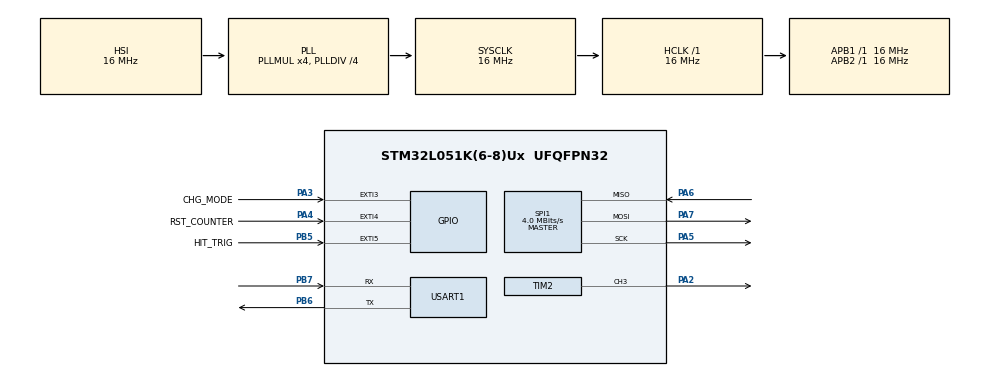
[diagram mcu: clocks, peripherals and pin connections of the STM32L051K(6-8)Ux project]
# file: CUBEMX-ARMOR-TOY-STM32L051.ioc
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Dma.Request0=SPI1_TX
Dma.SPI1_TX.0.Direction=DMA_MEMORY_TO_PERIPH
Dma.SPI1_TX.0.Instance=DMA1_Channel3
Dma.SPI1_TX.0.MemDataAlignment=DMA_MDATAALIGN_BYTE
Dma.SPI1_TX.0.MemInc=DMA_MINC_ENABLE
Dma.SPI1_TX.0.Mode=DMA_NORMAL
Dma.SPI1_TX.0.PeriphDataAlignment=DMA_PDATAALIGN_BYTE
Dma.SPI1_TX.0.PeriphInc=DMA_PINC_DISABLE
Dma.SPI1_TX.0.Priority=DMA_PRIORITY_HIGH
Mcu.Family=STM32L0
Mcu.Name=STM32L051K(6-8)Ux
Mcu.Package=UFQFPN32
NVIC.DMA1_Channel2_3_IRQn=true\:0\:0\:false\:false\:true\:false\:true\:true
NVIC.EXTI2_3_IRQn=true\:0\:0\:false\:false\:true\:true\:true\:true
NVIC.EXTI4_15_IRQn=true\:0\:0\:false\:false\:true\:true\:true\:true
NVIC.RTC_IRQn=true\:0\:0\:false\:false\:true\:true\:true\:true
NVIC.SPI1_IRQn=true\:0\:0\:false\:false\:true\:true\:true\:true
PA13.Mode=Serial_Wire
PA13.Signal=SYS_SWDIO
PA14.Mode=Serial_Wire
PA14.Signal=SYS_SWCLK
PA2.Signal=S_TIM2_CH3
PA3.GPIO_Label=CHG_MODE
PA3.Signal=GPXTI3
PA4.GPIO_Label=RST_COUNTER
PA4.Signal=GPXTI4
PA5.Mode=Full_Duplex_Master
PA5.Signal=SPI1_SCK
PA6.Mode=Full_Duplex_Master
PA6.Signal=SPI1_MISO
PA7.Mode=Full_Duplex_Master
PA7.Signal=SPI1_MOSI
PB5.GPIO_Label=HIT_TRIG
PB5.GPIO_ModeDefaultEXTI=GPIO_MODE_IT_FALLING
PB5.Signal=GPXTI5
PB6.Mode=Asynchronous
PB6.Signal=USART1_TX
PB7.Mode=Asynchronous
PB7.Signal=USART1_RX
PC14-OSC32_IN.Mode=LSE-External-Oscillator
PC14-OSC32_IN.Signal=RCC_OSC32_IN
PC15-OSC32_OUT.Mode=LSE-External-Oscillator
PC15-OSC32_OUT.Signal=RCC_OSC32_OUT
ProjectManager.HeapSize=0x200
ProjectManager.StackSize=0x400
ProjectManager.TargetToolchain=CMake
RCC.ADCFreq_Value=16000000
RCC.AHBFreq_Value=16000000
RCC.APB1Freq_Value=16000000
RCC.APB1TimFreq_Value=16000000
RCC.APB2Freq_Value=16000000
RCC.APB2TimFreq_Value=16000000
RCC.HCLKFreq_Value=16000000
RCC.HSI16_VALUE=16000000
RCC.HSI_VALUE=16000000
RCC.MSI_VALUE=2097000
RCC.PLLDIV=RCC_PLLDIV_4
RCC.PLLMUL=RCC_PLLMUL_4
RCC.RTCClockSelection=RCC_RTCCLKSOURCE_LSE
RCC.RTCClockSelectionVirtual=RCC_RTCCLKSOURCE_LSE
RCC.SYSCLKFreq_VALUE=16000000
RCC.SYSCLKSource=RCC_SYSCLKSOURCE_PLLCLK
RCC.VCOOutputFreq_Value=64000000
RTC.WakeUpClock=RTC_WAKEUPCLOCK_CK_SPRE_16BITS
RTC.WakeUpCounter=1
SH.S_TIM2_CH3.0=TIM2_CH3,PWM Generation3 CH3
SPI1.BaudRatePrescaler=SPI_BAUDRATEPRESCALER_4
SPI1.CalculateBaudRate=4.0 MBits/s
SPI1.Direction=SPI_DIRECTION_2LINES
SPI1.Mode=SPI_MODE_MASTER
SPI1.VirtualType=VM_MASTER
TIM2.Channel-PWM\ Generation3\ CH3=TIM_CHANNEL_3
TIM2.Period=524
TIM2.Pulse-PWM\ Generation3\ CH3=262
USART1.VirtualMode-Asynchronous=VM_ASYNC
VP_RTC_VS_RTC_Activate.Mode=RTC_Enabled
VP_RTC_VS_RTC_WakeUp_intern.Mode=WakeUp
board=custom

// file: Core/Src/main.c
/* USER CODE BEGIN Header */
/**
 ******************************************************************************
 * @file           : main.c
 * @brief          : Main program body
 ******************************************************************************
 * @attention
 *
 * Copyright (c) 2026 STMicroelectronics.
 * All rights reserved.
 *
 * This software is licensed under terms that can be found in the LICENSE file
 * in the root directory of this software component.
 * If no LICENSE file comes with this software, it is provided AS-IS.
 *
 ******************************************************************************
 */
/* USER CODE END Header */
#include "main.h"

/* USER CODE BEGIN Includes */
#include <string.h>
/* USER CODE END Includes */

RTC_HandleTypeDef hrtc;

SPI_HandleTypeDef hspi1;
DMA_HandleTypeDef hdma_spi1_tx;

TIM_HandleTypeDef htim2;

UART_HandleTypeDef huart1;

void SystemClock_Config(void);
static void MX_GPIO_Init(void);
static void MX_DMA_Init(void);
static void MX_RTC_Init(void);
static void MX_TIM2_Init(void);
static void MX_USART1_UART_Init(void);
static void MX_SPI1_Init(void);

/* USER CODE BEGIN 0 */
#define LED_MAX_LUMINANCE 256U
#define MODE4_LED_MAX_LUMINANCE 128U
#if (LED_MAX_LUMINANCE < 1U) || (LED_MAX_LUMINANCE > 256U)
#error "LED_MAX_LUMINANCE must be in the range 1..256"
#endif
#if (MODE4_LED_MAX_LUMINANCE < 1U) || (MODE4_LED_MAX_LUMINANCE > 256U)
#error "MODE4_LED_MAX_LUMINANCE must be in the range 1..256"
#endif
#define LED_SOLID_LEVEL ((uint8_t)(LED_MAX_LUMINANCE - 1U))
#define MODE4_LED_SOLID_LEVEL ((uint8_t)(MODE4_LED_MAX_LUMINANCE - 1U))

#define SK6812_LED_COUNT 16U

#define SK6812_SPI_HZ 4000000UL

#define SK6812_CODE_BITS 5U
#define SK6812_CODE_0 0x10U // 10000
#define SK6812_CODE_1 0x1EU // 11110

// SPI = 4 MHz，1 byte = 2 us
// 128 bytes = 256 us reset low，满足 >= 200 us
#define SK6812_RESET_BYTES 128U

// 8 LEDs * 24 bits * 5 SPI bits / 8 = 120 bytes
#define SK6812_DATA_BYTES                                                      \
  ((SK6812_LED_COUNT * 24U * SK6812_CODE_BITS + 7U) / 8U)

#define SK6812_TX_BYTES                                                        \
  (SK6812_RESET_BYTES + SK6812_DATA_BYTES + SK6812_RESET_BYTES)

#define APP_MODE_COUNT 4U
#define ADJUSTABLE_LUMINANCE_LEVEL_COUNT 9U
#define ADJUSTABLE_LUMINANCE_DEFAULT_INDEX 5U
#define KEY_DEBOUNCE_MS 180U
#define HIT_DEBOUNCE_MS 70U

#define BUZZER_BEEP_ON_MS 35U
#define BUZZER_BEEP_OFF_MS 35U
#define BUZZER_MAX_BEEPS 8U
#define BUZZER_BEEP_HZ 2000U

#define STARTUP_TONE_COUNT 3U
#define STARTUP_TONE_MS 140U
#define STARTUP_LAST_TONE_MS 180U
#define STARTUP_TONE_GAP_MS 28U

#define MODE3_TAP_EFFECT_MS 500U
#define MODE3_TAP_BLINK_MS 30U
#define FANCY_FRAME_MS 10U
#define STATIC_FRAME_MS 10U
#define SEDENTARY_FRAME_MS 10U

#define FANCY_ROWS 8U
#define FANCY_STAGE_FLOW_FRAMES 260UL
#define FANCY_STAGE_BULLET_FRAMES 230UL
#define FANCY_STAGE_PORTAL_FRAMES 240UL
#define FANCY_STAGE_HEART_FRAMES 220UL
#define FANCY_STAGE_GLITTER_FRAMES 220UL
#define FANCY_STAGE_SCANNER_FRAMES 210UL
#define FANCY_STAGE_RAIN_FRAMES 240UL
#define FANCY_STAGE_SPLIT_FRAMES 220UL
#define FANCY_STAGE_ORBIT_FRAMES 260UL
#define FANCY_STAGE_FIREWORK_FRAMES 240UL
#define FANCY_STAGE_LOVE_FRAMES 260UL
#define FANCY_STAGE_TOTAL_FRAMES                                             \
  (FANCY_STAGE_FLOW_FRAMES + FANCY_STAGE_BULLET_FRAMES +                     \
   FANCY_STAGE_PORTAL_FRAMES + FANCY_STAGE_HEART_FRAMES +                    \
   /*FANCY_STAGE_GLITTER_FRAMES + */FANCY_STAGE_SCANNER_FRAMES +                 \
   FANCY_STAGE_RAIN_FRAMES + FANCY_STAGE_SPLIT_FRAMES +                      \
   FANCY_STAGE_ORBIT_FRAMES + FANCY_STAGE_FIREWORK_FRAMES +                  \
   FANCY_STAGE_LOVE_FRAMES)

#define SEDENTARY_TOTAL_SECONDS (48UL * 60UL)
#define SEDENTARY_LED_SECONDS (SEDENTARY_TOTAL_SECONDS / SK6812_LED_COUNT)
#define SEDENTARY_PROGRESS_SHOW_MS 2000UL
#define SEDENTARY_DONE_BEEPS 5U
#define SEDENTARY_REMINDER_BEEP_INTERVAL_MS 5000UL
#define RTC_WAKEUP_COUNTER_1HZ 0U

typedef enum {
  APP_MODE_FANCY = 1U,
  APP_MODE_RED,
  APP_MODE_BLUE,
  APP_MODE_SEDENTARY,
} AppMode;

typedef struct {
  uint8_t beeps_left;
  uint8_t output_on;
  uint32_t next_change_ms;
} BuzzerState;

static uint8_t sk6812_rgb[SK6812_LED_COUNT][3]; // R, G, B
static uint8_t sk6812_tx_buf[SK6812_TX_BYTES];
static uint8_t active_led_solid_level = LED_SOLID_LEVEL;

static volatile uint8_t sk6812_dma_busy = 0;
static volatile uint8_t chg_mode_request = 0U;
static volatile uint8_t reset_cnt_request = 0U;
static volatile uint8_t hit_request = 0U;
static volatile uint32_t rtc_second_ticks = 0U;

static uint32_t last_chg_irq_ms = 0U;
static uint32_t last_reset_irq_ms = 0U;
static uint32_t last_hit_irq_ms = 0U;

static AppMode app_mode = APP_MODE_FANCY;
static BuzzerState buzzer = {0U, 0U, 0U};
static uint8_t adjustable_luminance_index = ADJUSTABLE_LUMINANCE_DEFAULT_INDEX;
static uint32_t next_led_update_ms = 0U;
static uint32_t mode3_phase = 0U;
static uint32_t tap_effect_started_ms = 0U;
static uint8_t tap_effect_active = 0U;
static uint32_t sedentary_seconds = 0U;
static uint8_t sedentary_reminder_active = 0U;
static uint32_t sedentary_progress_until_ms = 0U;
static uint32_t sedentary_next_beep_ms = 0U;

static uint8_t TimeReached(uint32_t now, uint32_t target) {
  return ((int32_t)(now - target) >= 0) ? 1U : 0U;
}

static uint8_t TimeElapsed(uint32_t now, uint32_t start, uint32_t period) {
  return ((uint32_t)(now - start) >= period) ? 1U : 0U;
}

static uint8_t ClampLed(uint8_t value) {
  return (value > active_led_solid_level) ? active_led_solid_level : value;
}

static uint8_t ClampAddLed(uint8_t value, uint8_t add) {
  uint16_t sum = (uint16_t)value + (uint16_t)add;
  return (sum > active_led_solid_level) ? active_led_solid_level : (uint8_t)sum;
}

static uint8_t LuminanceToSolidLevel(uint16_t luminance) {
  if (luminance >= 256U) {
    return 255U;
  }

  return (uint8_t)luminance;
}

static uint8_t AdjustableLuminanceSolidLevel(void) {
  return LuminanceToSolidLevel((uint16_t)(1U << adjustable_luminance_index));
}

static void App_UpdateActiveLedLimit(void) {
  if (app_mode == APP_MODE_SEDENTARY) {
    active_led_solid_level = MODE4_LED_SOLID_LEVEL;
  } else if ((app_mode == APP_MODE_FANCY) || (app_mode == APP_MODE_RED) ||
             (app_mode == APP_MODE_BLUE)) {
    active_led_solid_level = AdjustableLuminanceSolidLevel();
  } else {
    active_led_solid_level = LED_SOLID_LEVEL;
  }
}

static void App_CycleAdjustableLuminance(void) {
  adjustable_luminance_index++;

  if (adjustable_luminance_index >= ADJUSTABLE_LUMINANCE_LEVEL_COUNT) {
    adjustable_luminance_index = 0U;
  }

  App_UpdateActiveLedLimit();
  next_led_update_ms = 0U;
}

static uint8_t TakeRequest(volatile uint8_t *request) {
  uint8_t value;

  __disable_irq();
  value = *request;
  *request = 0U;
  __enable_irq();

  return value;
}

static uint32_t TakeRtcSecondTicks(void) {
  uint32_t ticks;

  __disable_irq();
  ticks = rtc_second_ticks;
  rtc_second_ticks = 0U;
  __enable_irq();

  return ticks;
}

static void Buzzer_SetFrequency(uint16_t frequency_hz) {
  uint32_t counter_hz;
  uint32_t period_counts;

  if (frequency_hz == 0U) {
    return;
  }

  counter_hz = HAL_RCC_GetPCLK1Freq() / (htim2.Init.Prescaler + 1U);
  period_counts = (counter_hz + ((uint32_t)frequency_hz / 2U)) /
                  (uint32_t)frequency_hz;

  if (period_counts < 2U) {
    period_counts = 2U;
  }

  htim2.Init.Period = period_counts - 1U;
  __HAL_TIM_SET_AUTORELOAD(&htim2, htim2.Init.Period);
  __HAL_TIM_SET_COMPARE(&htim2, TIM_CHANNEL_3, period_counts / 2U);
  __HAL_TIM_SET_COUNTER(&htim2, 0U);
}

static void Buzzer_SetOutput(uint8_t on) {
  if (on) {
    __HAL_TIM_SET_COMPARE(&htim2, TIM_CHANNEL_3,
                          (uint32_t)((htim2.Init.Period + 1U) / 2U));
    HAL_TIM_PWM_Start(&htim2, TIM_CHANNEL_3);
  } else {
    HAL_TIM_PWM_Stop(&htim2, TIM_CHANNEL_3);
  }
}

static void Buzzer_Cancel(void) {
  buzzer.beeps_left = 0U;
  buzzer.output_on = 0U;
  buzzer.next_change_ms = 0U;
  Buzzer_SetOutput(0U);
}

static void Buzzer_RequestBeeps(uint8_t count) {
  if (count == 0U) {
    return;
  }

  if (count > BUZZER_MAX_BEEPS) {
    count = BUZZER_MAX_BEEPS;
  }

  Buzzer_SetOutput(0U);
  Buzzer_SetFrequency(BUZZER_BEEP_HZ);
  buzzer.beeps_left = count;
  buzzer.output_on = 0U;
  buzzer.next_change_ms = HAL_GetTick();
}

static void Buzzer_Task(uint32_t now) {
  if (buzzer.output_on) {
    if (TimeReached(now, buzzer.next_change_ms)) {
      Buzzer_SetOutput(0U);
      buzzer.output_on = 0U;
      buzzer.next_change_ms = now + BUZZER_BEEP_OFF_MS;
    }

    return;
  }

  if ((buzzer.beeps_left > 0U) && TimeReached(now, buzzer.next_change_ms)) {
    Buzzer_SetOutput(1U);
    buzzer.output_on = 1U;
    buzzer.beeps_left--;
    buzzer.next_change_ms = now + BUZZER_BEEP_ON_MS;
  }
}

static uint8_t Buzzer_IsIdle(void) {
  return ((buzzer.beeps_left == 0U) && (buzzer.output_on == 0U)) ? 1U : 0U;
}

static void StartupSound_Play(void) {
  static const uint16_t tone_hz[STARTUP_TONE_COUNT] = {512U, 573U, 760U};

  Buzzer_Cancel();

  for (uint8_t i = 0U; i < STARTUP_TONE_COUNT; i++) {
    Buzzer_SetFrequency(tone_hz[i]);
    Buzzer_SetOutput(1U);
    HAL_Delay((i == (STARTUP_TONE_COUNT - 1U)) ? STARTUP_LAST_TONE_MS
                                               : STARTUP_TONE_MS);
    Buzzer_SetOutput(0U);

    if (i != (STARTUP_TONE_COUNT - 1U)) {
      HAL_Delay(STARTUP_TONE_GAP_MS);
    }
  }

  Buzzer_SetFrequency(BUZZER_BEEP_HZ);
  Buzzer_Cancel();
}

void HAL_GPIO_EXTI_Callback(uint16_t GPIO_Pin) {
  uint32_t now = HAL_GetTick();

  if (GPIO_Pin == CHG_MODE_Pin) {
    if ((last_chg_irq_ms == 0U) ||
        TimeElapsed(now, last_chg_irq_ms, KEY_DEBOUNCE_MS)) {
      last_chg_irq_ms = now;
      chg_mode_request = 1U;
    }
  } else if (GPIO_Pin == RST_COUNTER_Pin) {
    if ((last_reset_irq_ms == 0U) ||
        TimeElapsed(now, last_reset_irq_ms, KEY_DEBOUNCE_MS)) {
      last_reset_irq_ms = now;
      reset_cnt_request = 1U;
    }
  } else if (GPIO_Pin == HIT_TRIG_Pin) {
    if ((last_hit_irq_ms == 0U) ||
        TimeElapsed(now, last_hit_irq_ms, HIT_DEBOUNCE_MS)) {
      last_hit_irq_ms = now;
      hit_request = 1U;
    }
  }
}

void HAL_RTCEx_WakeUpTimerEventCallback(RTC_HandleTypeDef *hrtc) {
  if (hrtc->Instance == RTC) {
    rtc_second_ticks++;
  }
}
static void SK6812_WriteEncodedBit(uint16_t *bit_pos, uint8_t bit_is_one) {
  uint8_t code = bit_is_one ? SK6812_CODE_1 : SK6812_CODE_0;
  // 5-bit code, MSB first
  for (int k = 4; k >= 0; k--) {
    if (code & (1U << k)) {
      sk6812_tx_buf[*bit_pos >> 3] |= (uint8_t)(0x80U >> (*bit_pos & 0x07U));
    }

    (*bit_pos)++;
  }
}
static void SK6812_WriteEncodedByte(uint16_t *bit_pos, uint8_t value) {
  for (int b = 7; b >= 0; b--) {
    SK6812_WriteEncodedBit(bit_pos, (value & (1U << b)) != 0U);
  }
}
void SK6812_SetRGB(uint8_t i, uint8_t r, uint8_t g, uint8_t b) {
  if ((i == 0U) || (i > SK6812_LED_COUNT)) {
    return;
  }
  i--; // User passes 1..16, array uses 0..15.
  sk6812_rgb[i][0] = ClampLed(r);
  sk6812_rgb[i][1] = ClampLed(g);
  sk6812_rgb[i][2] = ClampLed(b);
}
static void SK6812_SetAllRGB(uint8_t r, uint8_t g, uint8_t b) {
  for (uint8_t i = 1U; i <= SK6812_LED_COUNT; i++) {
    SK6812_SetRGB(i, r, g, b);
  }
}
HAL_StatusTypeDef SK6812_Show(void) {
  if (sk6812_dma_busy) {
    return HAL_BUSY;
  }
  memset(sk6812_tx_buf, 0x00, sizeof(sk6812_tx_buf));

  uint16_t bit_pos = SK6812_RESET_BYTES * 8U;

  for (uint8_t i = 0; i < SK6812_LED_COUNT; i++) {
    // SK6812-EC20 datasheet in GRB
    SK6812_WriteEncodedByte(&bit_pos, sk6812_rgb[i][1]); // G
    SK6812_WriteEncodedByte(&bit_pos, sk6812_rgb[i][0]); // R
    SK6812_WriteEncodedByte(&bit_pos, sk6812_rgb[i][2]); // B
  }

  sk6812_dma_busy = 1U;

  HAL_StatusTypeDef ret = HAL_SPI_Transmit_DMA(&hspi1, sk6812_tx_buf,
                                               (uint16_t)sizeof(sk6812_tx_buf));

  if (ret != HAL_OK) {
    sk6812_dma_busy = 0U;
  }

  return ret;
}
uint8_t SK6812_IsBusy(void) { return sk6812_dma_busy; }
void HAL_SPI_TxCpltCallback(SPI_HandleTypeDef *hspi) {
  if (hspi->Instance == SPI1) {
    sk6812_dma_busy = 0U;
  }
}

void HAL_SPI_ErrorCallback(SPI_HandleTypeDef *hspi) {
  if (hspi->Instance == SPI1) {
    sk6812_dma_busy = 0U;
  }
}

static uint8_t Triangle8(uint8_t x) {
  return (x < 128U) ? (uint8_t)(x << 1U) : (uint8_t)((255U - x) << 1U);
}

static uint8_t Scale8(uint8_t value, uint8_t scale) {
  return (uint8_t)(((uint16_t)value * (uint16_t)scale) / 255U);
}

static uint8_t ClampScale(uint16_t scale) {
  return (scale > 255U) ? 255U : (uint8_t)scale;
}

static uint8_t LevelToScale(uint8_t level) {
  return ClampScale((uint16_t)level * 2U);
}

static uint8_t LevelToScaleMax(uint8_t level, uint8_t max_level) {
  if (max_level == 0U) {
    return 0U;
  }

  return (uint8_t)(((uint16_t)level * 255U) / max_level);
}

static void ColorWheelMax(uint8_t pos, uint8_t max_level, uint8_t *r,
                          uint8_t *g, uint8_t *b) {
  uint16_t max = max_level;

  pos = (uint8_t)(255U - pos);

  if (pos < 85U) {
    *r = (uint8_t)(max - (((uint16_t)pos * max) / 85U));
    *g = 0U;
    *b = (uint8_t)(((uint16_t)pos * max) / 85U);
  } else if (pos < 170U) {
    pos = (uint8_t)(pos - 85U);
    *r = 0U;
    *g = (uint8_t)(((uint16_t)pos * max) / 85U);
    *b = (uint8_t)(max - (((uint16_t)pos * max) / 85U));
  } else {
    pos = (uint8_t)(pos - 170U);
    *r = (uint8_t)(((uint16_t)pos * max) / 85U);
    *g = (uint8_t)(max - (((uint16_t)pos * max) / 85U));
    *b = 0U;
  }
}

static void ColorWheel(uint8_t pos, uint8_t *r, uint8_t *g, uint8_t *b) {
  ColorWheelMax(pos, active_led_solid_level, r, g, b);
}

static uint8_t BreathLevel(uint32_t now, uint8_t max_level) {
  uint32_t phase = now % 2200U;

  if (phase < 1100U) {
    return (uint8_t)(1U + ((phase * max_level) / 1100U));
  }

  phase = 2199U - phase;
  return (uint8_t)(1U + ((phase * max_level) / 1100U));
}

static uint8_t FancyLedAt(uint8_t row, uint8_t right_side) {
  if (right_side) {
    return (uint8_t)(SK6812_LED_COUNT - row);
  }

  return (uint8_t)(row + 1U);
}

static void FancySetPixel(uint8_t row, uint8_t right_side, uint8_t r,
                          uint8_t g, uint8_t b) {
  if (row >= FANCY_ROWS) {
    return;
  }

  SK6812_SetRGB(FancyLedAt(row, right_side), r, g, b);
}

static void FancySetRow(uint8_t row, uint8_t r, uint8_t g, uint8_t b) {
  FancySetPixel(row, 0U, r, g, b);
  FancySetPixel(row, 1U, r, g, b);
}

static uint8_t AbsDiffU8(uint8_t a, uint8_t b) {
  return (a > b) ? (uint8_t)(a - b) : (uint8_t)(b - a);
}

static uint8_t FancyNoise8(uint8_t seed, uint32_t tick) {
  uint32_t x = tick + ((uint32_t)seed * 0x45d9f3bUL) + 0x9e3779b9UL;

  x ^= x >> 16U;
  x *= 0x7feb352dUL;
  x ^= x >> 15U;

  return (uint8_t)(x >> 24U);
}

static void FancyRenderFlow(uint32_t t) {
  for (uint8_t row = 0U; row < FANCY_ROWS; row++) {
    uint8_t r;
    uint8_t g;
    uint8_t b;
    uint8_t shimmer;

    ColorWheel((uint8_t)((t * 2U) + ((uint32_t)row * 24U)), &r, &g, &b);
    shimmer = (uint8_t)(170U + (Triangle8((uint8_t)((t * 5U) +
                                                    ((uint32_t)row * 28U))) >>
                                2U));
    FancySetPixel(row, 0U, Scale8(r, shimmer), Scale8(g, shimmer),
                  Scale8(b, shimmer));

    ColorWheel((uint8_t)((t * 2U) + ((uint32_t)(FANCY_ROWS - 1U - row) * 24U) +
                         80U),
               &r, &g, &b);
    shimmer = (uint8_t)(170U + (Triangle8((uint8_t)((t * 5U) +
                                                    ((uint32_t)row * 31U))) >>
                                2U));
    FancySetPixel(row, 1U, Scale8(r, shimmer), Scale8(g, shimmer),
                  Scale8(b, shimmer));
  }
}

static void FancyRenderBullets(uint32_t t) {
  uint8_t shot = (uint8_t)((t / 10U) % (FANCY_ROWS + 4U));

  SK6812_SetAllRGB(0U, 0U, 6U);

  for (uint8_t row = 0U; row < FANCY_ROWS; row++) {
    uint8_t distance = AbsDiffU8(row, shot);

    if (distance < 4U) {
      uint8_t level = (uint8_t)(LED_SOLID_LEVEL - ((uint16_t)distance * 30U));
      FancySetPixel(row, 0U, level, (uint8_t)(level >> 2U), 0U);
    }

    if ((shot >= 1U) && (shot < (FANCY_ROWS + 1U))) {
      uint8_t hit_row = (uint8_t)(shot - 1U);
      uint8_t hit_distance = AbsDiffU8(row, hit_row);

      if (hit_distance < 3U) {
        uint8_t burst = (uint8_t)(LED_SOLID_LEVEL -
                                  ((uint16_t)hit_distance * 38U));
        FancySetPixel(row, 1U, burst, burst, (uint8_t)(burst >> 3U));
      }
    }
  }
}

static void FancyRenderPortal(uint32_t t) {
  uint8_t radius = (uint8_t)((t / 11U) % 9U);
  uint8_t hue = (uint8_t)(t * 3U);

  SK6812_SetAllRGB(0U, 0U, 0U);

  for (uint8_t row = 0U; row < FANCY_ROWS; row++) {
    uint8_t r;
    uint8_t g;
    uint8_t b;
    uint8_t d0 = AbsDiffU8(row, 3U);
    uint8_t d1 = AbsDiffU8(row, 4U);
    uint8_t distance = (d0 < d1) ? d0 : d1;

    if (distance <= radius) {
      uint8_t edge = AbsDiffU8(distance, radius);
      uint8_t level = (edge == 0U) ? LED_SOLID_LEVEL : 42U;

      ColorWheel((uint8_t)(hue + ((uint32_t)row * 18U)), &r, &g, &b);
      r = Scale8(r, LevelToScale(level));
      g = Scale8(g, LevelToScale(level));
      b = Scale8(b, LevelToScale(level));
      FancySetRow(row, r, g, b);
    }
  }
}

static void FancyRenderHeart(uint32_t t) {
  uint8_t beat = Triangle8((uint8_t)(t * 4U));

  for (uint8_t row = 0U; row < FANCY_ROWS; row++) {
    uint8_t shape = (uint8_t)(LED_SOLID_LEVEL -
                              ((uint16_t)row * (LED_SOLID_LEVEL / 9U)));
    uint8_t glow = ClampAddLed(Scale8(shape, ClampScale(130U + (beat >> 1U))),
                               (uint8_t)(beat >> 3U));

    FancySetRow(row, glow, (uint8_t)(glow >> 4U), (uint8_t)(glow >> 2U));
  }
}

static void __attribute__((unused)) FancyRenderGlitter(uint32_t t) {
  for (uint8_t row = 0U; row < FANCY_ROWS; row++) {
    uint8_t r;
    uint8_t g;
    uint8_t b;
    uint8_t base = (uint8_t)(18U + (Triangle8((uint8_t)(t * 2U + row * 21U)) >>
                                    4U));

    ColorWheel((uint8_t)(t + row * 29U), &r, &g, &b);
    FancySetRow(row, Scale8(r, base), Scale8(g, base), Scale8(b, base));

    for (uint8_t side = 0U; side < 2U; side++) {
      uint8_t noise = FancyNoise8((uint8_t)(row + (side * 13U)), t / 3U);

      if (noise > 232U) {
        FancySetPixel(row, side, LED_SOLID_LEVEL, LED_SOLID_LEVEL,
                      LED_SOLID_LEVEL);
      } else if (noise > 216U) {
        FancySetPixel(row, side, LED_SOLID_LEVEL, 0U, LED_SOLID_LEVEL);
      }
    }
  }
}

static void FancyRenderScanner(uint32_t t) {
  uint8_t pos = (uint8_t)((t / 6U) % ((FANCY_ROWS * 2U) - 2U));
  uint8_t center =
      (pos < FANCY_ROWS) ? pos : (uint8_t)(((FANCY_ROWS * 2U) - 2U) - pos);

  SK6812_SetAllRGB(0U, 0U, 10U);

  for (uint8_t row = 0U; row < FANCY_ROWS; row++) {
    uint8_t distance = AbsDiffU8(row, center);

    if (distance < 4U) {
      uint8_t level = (uint8_t)(LED_SOLID_LEVEL -
                                ((uint16_t)distance * 34U));
      FancySetPixel(row, 0U, level, 0U, (uint8_t)(level >> 1U));
      FancySetPixel(row, 1U, 0U, (uint8_t)(level >> 1U), level);
    }
  }
}

static void FancyRenderRain(uint32_t t) {
  SK6812_SetAllRGB(0U, 0U, 0U);

  for (uint8_t side = 0U; side < 2U; side++) {
    for (uint8_t drop = 0U; drop < 4U; drop++) {
      uint8_t head = (uint8_t)((t / 7U + ((uint32_t)drop * 4U) +
                                ((uint32_t)side * 2U)) %
                               (FANCY_ROWS + 5U));
      uint8_t hue = (uint8_t)(150U + (drop * 18U) + (side * 50U));

      for (uint8_t row = 0U; row < FANCY_ROWS; row++) {
        if (head >= row) {
          uint8_t r;
          uint8_t g;
          uint8_t b;
          uint8_t tail = (uint8_t)(head - row);

          if (tail < 4U) {
            uint8_t level = (uint8_t)(LED_SOLID_LEVEL -
                                      ((uint16_t)tail * 34U));

            ColorWheel((uint8_t)(hue + row * 9U), &r, &g, &b);
            FancySetPixel(row, side, Scale8(r, LevelToScale(level)),
                          Scale8(g, LevelToScale(level)),
                          Scale8(b, LevelToScale(level)));
          }
        }
      }
    }
  }
}

static void FancyRenderSplit(uint32_t t) {
  uint8_t radius = (uint8_t)((t / 8U) % FANCY_ROWS);
  uint8_t hue = (uint8_t)(t * 4U);

  SK6812_SetAllRGB(3U, 0U, 5U);

  for (uint8_t row = 0U; row < FANCY_ROWS; row++) {
    uint8_t r;
    uint8_t g;
    uint8_t b;
    uint8_t d0 = AbsDiffU8(row, 3U);
    uint8_t d1 = AbsDiffU8(row, 4U);
    uint8_t distance = (d0 < d1) ? d0 : d1;
    uint8_t error = AbsDiffU8(distance, radius);

    if (error < 3U) {
      uint8_t level = (uint8_t)(LED_SOLID_LEVEL -
                                ((uint16_t)error * 40U));

      ColorWheel((uint8_t)(hue + row * 20U), &r, &g, &b);
      FancySetRow(row, Scale8(r, LevelToScale(level)),
                  Scale8(g, LevelToScale(level)),
                  Scale8(b, LevelToScale(level)));
    }
  }
}

static void FancyRenderOrbit(uint32_t t) {
  uint8_t head = (uint8_t)((t / 5U) % SK6812_LED_COUNT);

  SK6812_SetAllRGB(0U, 4U, 6U);

  for (uint8_t trail = 0U; trail < 6U; trail++) {
    uint8_t r;
    uint8_t g;
    uint8_t b;
    uint8_t step = (uint8_t)((head + SK6812_LED_COUNT - trail) %
                             SK6812_LED_COUNT);
    uint8_t row = (step < FANCY_ROWS) ? step : (uint8_t)(15U - step);
    uint8_t side = (step < FANCY_ROWS) ? 0U : 1U;
    uint8_t level = (uint8_t)(LED_SOLID_LEVEL -
                              ((uint16_t)trail * 19U));

    ColorWheel((uint8_t)(t * 3U + trail * 18U), &r, &g, &b);
    FancySetPixel(row, side, Scale8(r, LevelToScale(level)),
                  Scale8(g, LevelToScale(level)),
                  Scale8(b, LevelToScale(level)));
  }
}

static void FancyRenderFirework(uint32_t t) {
  uint32_t shot = t / 48U;
  uint8_t age = (uint8_t)(t % 48U);
  uint8_t center_row = (uint8_t)(FancyNoise8(61U, shot) % FANCY_ROWS);
  uint8_t center_side = (uint8_t)(FancyNoise8(97U, shot) & 1U);
  uint8_t radius = (uint8_t)(age / 8U);
  uint8_t hue = FancyNoise8(131U, shot);

  SK6812_SetAllRGB(0U, 0U, 0U);

  for (uint8_t row = 0U; row < FANCY_ROWS; row++) {
    for (uint8_t side = 0U; side < 2U; side++) {
      uint8_t r;
      uint8_t g;
      uint8_t b;
      uint8_t distance =
          (uint8_t)(AbsDiffU8(row, center_row) + ((side == center_side) ? 0U : 1U));
      uint8_t error = AbsDiffU8(distance, radius);

      if (error < 2U) {
        uint8_t level = (error == 0U) ? LED_SOLID_LEVEL : 54U;
        uint8_t fade = (uint8_t)(255U - ((uint16_t)age * 3U));

        ColorWheel((uint8_t)(hue + row * 13U + side * 35U), &r, &g, &b);
        level = Scale8(level, fade);
        FancySetPixel(row, side, Scale8(r, LevelToScale(level)),
                      Scale8(g, LevelToScale(level)),
                      Scale8(b, LevelToScale(level)));
      }
    }
  }
}

static void FancyRenderLove(uint32_t t) {
  static const uint8_t heart_shape[FANCY_ROWS] = {58U, 112U, 127U, 120U,
                                                  96U, 70U,  44U,  22U};
  uint8_t pulse = Triangle8((uint8_t)(t * 3U));

  for (uint8_t row = 0U; row < FANCY_ROWS; row++) {
    uint8_t glow =
        ClampAddLed(Scale8(heart_shape[row], ClampScale(160U + (pulse >> 2U))),
                    (uint8_t)(pulse >> 4U));

    FancySetRow(row, glow, (uint8_t)(glow >> 5U), (uint8_t)(glow >> 2U));
  }

  if (((t / 18U) & 1UL) == 0UL) {
    FancySetPixel(1U, 0U, LED_SOLID_LEVEL, LED_SOLID_LEVEL, LED_SOLID_LEVEL);
    FancySetPixel(1U, 1U, LED_SOLID_LEVEL, LED_SOLID_LEVEL, LED_SOLID_LEVEL);
  }

  if (((t / 31U) & 1UL) == 0UL) {
    FancySetPixel(5U, 0U, LED_SOLID_LEVEL, 20U, LED_SOLID_LEVEL);
    FancySetPixel(5U, 1U, LED_SOLID_LEVEL, 20U, LED_SOLID_LEVEL);
  }
}

static void RenderModeRed(uint32_t now) {
  if (tap_effect_active) {
    uint32_t age = now - tap_effect_started_ms;

    if (age >= MODE3_TAP_EFFECT_MS) {
      tap_effect_active = 0U;
    } else if (((age / MODE3_TAP_BLINK_MS) & 1UL) == 0UL) {
      SK6812_SetAllRGB(0U, 0U, 0U);
      return;
    }
  }
  SK6812_SetAllRGB(LED_SOLID_LEVEL, 0U, 0U);
}

static void RenderModeBlue(uint32_t now) {
  if (tap_effect_active) {
    uint32_t age = now - tap_effect_started_ms;

    if (age >= MODE3_TAP_EFFECT_MS) {
      tap_effect_active = 0U;
    } else if (((age / MODE3_TAP_BLINK_MS) & 1UL) == 0UL) {
      SK6812_SetAllRGB(0U, 0U, 0U);
      return;
    }
  }

  SK6812_SetAllRGB(0U, 0U, LED_SOLID_LEVEL);
}

static void RenderModeFancy(void) {
  uint32_t stage_time = mode3_phase % FANCY_STAGE_TOTAL_FRAMES;

  if (stage_time < FANCY_STAGE_FLOW_FRAMES) {
    FancyRenderFlow(stage_time);
    mode3_phase++;
    return;
  }

  stage_time -= FANCY_STAGE_FLOW_FRAMES;
  if (stage_time < FANCY_STAGE_BULLET_FRAMES) {
    FancyRenderBullets(stage_time);
    mode3_phase++;
    return;
  }

  stage_time -= FANCY_STAGE_BULLET_FRAMES;
  if (stage_time < FANCY_STAGE_PORTAL_FRAMES) {
    FancyRenderPortal(stage_time);
    mode3_phase++;
    return;
  }

  stage_time -= FANCY_STAGE_PORTAL_FRAMES;
  if (stage_time < FANCY_STAGE_HEART_FRAMES) {
    FancyRenderHeart(stage_time);
    mode3_phase++;
    return;
  }

  // stage_time -= FANCY_STAGE_HEART_FRAMES;
  // if (stage_time < FANCY_STAGE_GLITTER_FRAMES) {
  //   FancyRenderGlitter(stage_time);
  //   mode3_phase++;
  //   return;
  // }

  stage_time -= FANCY_STAGE_GLITTER_FRAMES;
  if (stage_time < FANCY_STAGE_SCANNER_FRAMES) {
    FancyRenderScanner(stage_time);
    mode3_phase++;
    return;
  }

  stage_time -= FANCY_STAGE_SCANNER_FRAMES;
  if (stage_time < FANCY_STAGE_RAIN_FRAMES) {
    FancyRenderRain(stage_time);
    mode3_phase++;
    return;
  }

  stage_time -= FANCY_STAGE_RAIN_FRAMES;
  if (stage_time < FANCY_STAGE_SPLIT_FRAMES) {
    FancyRenderSplit(stage_time);
    mode3_phase++;
    return;
  }

  stage_time -= FANCY_STAGE_SPLIT_FRAMES;
  if (stage_time < FANCY_STAGE_ORBIT_FRAMES) {
    FancyRenderOrbit(stage_time);
    mode3_phase++;
    return;
  }

  stage_time -= FANCY_STAGE_ORBIT_FRAMES;
  if (stage_time < FANCY_STAGE_FIREWORK_FRAMES) {
    FancyRenderFirework(stage_time);
  } else {
    stage_time -= FANCY_STAGE_FIREWORK_FRAMES;
    FancyRenderLove(stage_time);
  }

  mode3_phase++;
}

static void RenderModeSedentary(uint32_t now) {
  if (sedentary_reminder_active) {
    uint8_t white = BreathLevel(now, MODE4_LED_SOLID_LEVEL);
    SK6812_SetAllRGB(white, white, white);
    return;
  }

  if (TimeReached(now, sedentary_progress_until_ms)) {
    SK6812_SetAllRGB(0U, 0U, 0U);
    return;
  }

  for (uint8_t i = 0U; i < SK6812_LED_COUNT; i++) {
    uint32_t led_start = (uint32_t)i * SEDENTARY_LED_SECONDS;
    uint32_t led_end = led_start + SEDENTARY_LED_SECONDS;
    uint8_t level = 0U;
    uint8_t scale;
    uint8_t r;
    uint8_t g;
    uint8_t b;

    if (sedentary_seconds >= led_end) {
      level = MODE4_LED_SOLID_LEVEL;
    } else if (sedentary_seconds >= led_start) {
      uint32_t elapsed_in_led = sedentary_seconds - led_start;
      level = (uint8_t)((elapsed_in_led * MODE4_LED_SOLID_LEVEL) /
                        SEDENTARY_LED_SECONDS);
    }

    ColorWheelMax((uint8_t)((uint32_t)i * 16U), MODE4_LED_SOLID_LEVEL, &r, &g,
                  &b);
    scale = LevelToScaleMax(level, MODE4_LED_SOLID_LEVEL);
    SK6812_SetRGB((uint8_t)(i + 1U), Scale8(r, scale), Scale8(g, scale),
                  Scale8(b, scale));
  }
}

static uint32_t CurrentFramePeriod(void) {
  if (app_mode == APP_MODE_FANCY) {
    return (tap_effect_active != 0U) ? MODE3_TAP_BLINK_MS : STATIC_FRAME_MS;
  }

  if (app_mode == APP_MODE_BLUE) {
    return (tap_effect_active != 0U) ? MODE3_TAP_BLINK_MS : STATIC_FRAME_MS;
  }

  if (app_mode == APP_MODE_SEDENTARY) {
    return SEDENTARY_FRAME_MS;
  }

  return STATIC_FRAME_MS;
}

static void Sedentary_Reset(void) {
  sedentary_seconds = 0U;
  sedentary_reminder_active = 0U;
  sedentary_progress_until_ms = 0U;
  sedentary_next_beep_ms = 0U;
  next_led_update_ms = 0U;
}

static void Sedentary_ReminderBeepTask(uint32_t now) {
  if ((app_mode != APP_MODE_SEDENTARY) || (sedentary_reminder_active == 0U)) {
    return;
  }

  if (TimeReached(now, sedentary_next_beep_ms) && Buzzer_IsIdle()) {
    Buzzer_RequestBeeps(SEDENTARY_DONE_BEEPS);
    sedentary_next_beep_ms = now + SEDENTARY_REMINDER_BEEP_INTERVAL_MS;
  }
}

static void App_SetMode(AppMode mode) {
  app_mode = mode;
  tap_effect_active = 0U;
  App_UpdateActiveLedLimit();
  next_led_update_ms = 0U;

  if (app_mode == APP_MODE_SEDENTARY) {
    Sedentary_Reset();
  }

  Buzzer_RequestBeeps((uint8_t)app_mode);
}

static void App_AdvanceMode(void) {
  uint8_t next = (uint8_t)app_mode + 1U;

  if (next > APP_MODE_COUNT) {
    next = 1U;
  }

  App_SetMode((AppMode)next);
}

static void App_HandleEvents(uint32_t now) {
  uint32_t ticks = TakeRtcSecondTicks();
  uint8_t counter_was_reset = 0U;

  if (TakeRequest(&chg_mode_request)) {
    App_AdvanceMode();
    counter_was_reset = (app_mode == APP_MODE_SEDENTARY) ? 1U : 0U;
  }

  if (TakeRequest(&reset_cnt_request)) {
    if (app_mode == APP_MODE_SEDENTARY) {
      uint8_t was_reminding = sedentary_reminder_active;
      Sedentary_Reset();
      counter_was_reset = 1U;
      if (was_reminding) {
        Buzzer_Cancel();
      }
    } else if ((app_mode == APP_MODE_FANCY) || (app_mode == APP_MODE_RED) ||
               (app_mode == APP_MODE_BLUE)) {
      App_CycleAdjustableLuminance();
    }
  }

  if (TakeRequest(&hit_request)) {
    if (app_mode == APP_MODE_BLUE || app_mode == APP_MODE_RED) {
      tap_effect_started_ms = now;
      tap_effect_active = 1U;
      next_led_update_ms = 0U;
    } else if ((app_mode == APP_MODE_SEDENTARY) &&
               (sedentary_reminder_active == 0U)) {
      sedentary_progress_until_ms = now + SEDENTARY_PROGRESS_SHOW_MS;
      next_led_update_ms = 0U;
    }
  }

  if ((counter_was_reset == 0U) && (ticks > 0U) &&
      (app_mode == APP_MODE_SEDENTARY) &&
      (sedentary_reminder_active == 0U)) {
    if (sedentary_seconds + ticks >= SEDENTARY_TOTAL_SECONDS) {
      sedentary_seconds = SEDENTARY_TOTAL_SECONDS;
      sedentary_reminder_active = 1U;
      sedentary_next_beep_ms = now;
      next_led_update_ms = 0U;
    } else {
      sedentary_seconds += ticks;
    }
  }

  Sedentary_ReminderBeepTask(now);
}

static void App_Render(uint32_t now) {
  if (!TimeReached(now, next_led_update_ms) || SK6812_IsBusy()) {
    return;
  }

  next_led_update_ms = now + CurrentFramePeriod();

  if (app_mode == APP_MODE_RED) {
    RenderModeRed(now);
  } else if (app_mode == APP_MODE_BLUE) {
    RenderModeBlue(now);
  } else if (app_mode == APP_MODE_FANCY) {
    RenderModeFancy();
  } else {
    RenderModeSedentary(now);
  }

  SK6812_Show();
}

static void App_Init(void) {
  Buzzer_Cancel();
  App_UpdateActiveLedLimit();
  RenderModeFancy();
  SK6812_Show();
}
/* USER CODE END 0 */

int main(void) {

  /* MCU Configuration--------------------------------------------------------*/

  /* Reset of all peripherals, Initializes the Flash interface and the Systick.
   */
  HAL_Init();

  /* Configure the system clock */
  SystemClock_Config();

  /* Initialize all configured peripherals */
  MX_GPIO_Init();
  MX_DMA_Init();
  MX_RTC_Init();
  MX_TIM2_Init();
  MX_USART1_UART_Init();
  MX_SPI1_Init();
  /* USER CODE BEGIN 2 */
  App_Init();
  StartupSound_Play();
  /* USER CODE END 2 */

  /* Infinite loop */
  /* USER CODE BEGIN WHILE */
  while (1) {
    uint32_t now = HAL_GetTick();

    App_HandleEvents(now);
    Buzzer_Task(now);
    App_Render(now);
    HAL_Delay(1);

    /* USER CODE END WHILE */

  }
}

void SystemClock_Config(void) {
  RCC_OscInitTypeDef RCC_OscInitStruct = {0};
  RCC_ClkInitTypeDef RCC_ClkInitStruct = {0};
  RCC_PeriphCLKInitTypeDef PeriphClkInit = {0};

  /** Configure the main internal regulator output voltage
   */
  __HAL_PWR_VOLTAGESCALING_CONFIG(PWR_REGULATOR_VOLTAGE_SCALE1);

  /** Configure LSE Drive Capability
   */
  HAL_PWR_EnableBkUpAccess();
  __HAL_RCC_LSEDRIVE_CONFIG(RCC_LSEDRIVE_LOW);

  /** Initializes the RCC Oscillators according to the specified parameters
   * in the RCC_OscInitTypeDef structure.
   */
  RCC_OscInitStruct.OscillatorType =
      RCC_OSCILLATORTYPE_HSI | RCC_OSCILLATORTYPE_LSE;
  RCC_OscInitStruct.LSEState = RCC_LSE_ON;
  RCC_OscInitStruct.HSIState = RCC_HSI_ON;
  RCC_OscInitStruct.HSICalibrationValue = RCC_HSICALIBRATION_DEFAULT;
  RCC_OscInitStruct.PLL.PLLState = RCC_PLL_ON;
  RCC_OscInitStruct.PLL.PLLSource = RCC_PLLSOURCE_HSI;
  RCC_OscInitStruct.PLL.PLLMUL = RCC_PLLMUL_4;
  RCC_OscInitStruct.PLL.PLLDIV = RCC_PLLDIV_4;
  if (HAL_RCC_OscConfig(&RCC_OscInitStruct) != HAL_OK) {
    Error_Handler();
  }

  /** Initializes the CPU, AHB and APB buses clocks
   */
  RCC_ClkInitStruct.ClockType = RCC_CLOCKTYPE_HCLK | RCC_CLOCKTYPE_SYSCLK |
                                RCC_CLOCKTYPE_PCLK1 | RCC_CLOCKTYPE_PCLK2;
  RCC_ClkInitStruct.SYSCLKSource = RCC_SYSCLKSOURCE_PLLCLK;
  RCC_ClkInitStruct.AHBCLKDivider = RCC_SYSCLK_DIV1;
  RCC_ClkInitStruct.APB1CLKDivider = RCC_HCLK_DIV1;
  RCC_ClkInitStruct.APB2CLKDivider = RCC_HCLK_DIV1;

  if (HAL_RCC_ClockConfig(&RCC_ClkInitStruct, FLASH_LATENCY_0) != HAL_OK) {
    Error_Handler();
  }
  PeriphClkInit.PeriphClockSelection = RCC_PERIPHCLK_USART1 | RCC_PERIPHCLK_RTC;
  PeriphClkInit.Usart1ClockSelection = RCC_USART1CLKSOURCE_PCLK2;
  PeriphClkInit.RTCClockSelection = RCC_RTCCLKSOURCE_LSE;
  if (HAL_RCCEx_PeriphCLKConfig(&PeriphClkInit) != HAL_OK) {
    Error_Handler();
  }
}

static void MX_RTC_Init(void) {

  /** Initialize RTC Only
   */
  hrtc.Instance = RTC;
  hrtc.Init.HourFormat = RTC_HOURFORMAT_24;
  hrtc.Init.AsynchPrediv = 127;
  hrtc.Init.SynchPrediv = 255;
  hrtc.Init.OutPut = RTC_OUTPUT_DISABLE;
  hrtc.Init.OutPutRemap = RTC_OUTPUT_REMAP_NONE;
  hrtc.Init.OutPutPolarity = RTC_OUTPUT_POLARITY_HIGH;
  hrtc.Init.OutPutType = RTC_OUTPUT_TYPE_OPENDRAIN;
  if (HAL_RTC_Init(&hrtc) != HAL_OK) {
    Error_Handler();
  }

  /** Enable the WakeUp
   */
  if (HAL_RTCEx_SetWakeUpTimer_IT(&hrtc, RTC_WAKEUP_COUNTER_1HZ,
                                  RTC_WAKEUPCLOCK_CK_SPRE_16BITS) != HAL_OK) {
    Error_Handler();
  }
}

static void MX_SPI1_Init(void) {

  /* SPI1 parameter configuration*/
  hspi1.Instance = SPI1;
  hspi1.Init.Mode = SPI_MODE_MASTER;
  hspi1.Init.Direction = SPI_DIRECTION_2LINES;
  hspi1.Init.DataSize = SPI_DATASIZE_8BIT;
  hspi1.Init.CLKPolarity = SPI_POLARITY_LOW;
  hspi1.Init.CLKPhase = SPI_PHASE_1EDGE;
  hspi1.Init.NSS = SPI_NSS_SOFT;
  hspi1.Init.BaudRatePrescaler = SPI_BAUDRATEPRESCALER_4;
  hspi1.Init.FirstBit = SPI_FIRSTBIT_MSB;
  hspi1.Init.TIMode = SPI_TIMODE_DISABLE;
  hspi1.Init.CRCCalculation = SPI_CRCCALCULATION_DISABLE;
  hspi1.Init.CRCPolynomial = 7;
  if (HAL_SPI_Init(&hspi1) != HAL_OK) {
    Error_Handler();
  }
}

static void MX_TIM2_Init(void) {

  TIM_MasterConfigTypeDef sMasterConfig = {0};
  TIM_OC_InitTypeDef sConfigOC = {0};

  htim2.Instance = TIM2;
  htim2.Init.Prescaler = 15;
  htim2.Init.CounterMode = TIM_COUNTERMODE_UP;
  htim2.Init.Period = 499;
  htim2.Init.ClockDivision = TIM_CLOCKDIVISION_DIV1;
  htim2.Init.AutoReloadPreload = TIM_AUTORELOAD_PRELOAD_DISABLE;
  if (HAL_TIM_PWM_Init(&htim2) != HAL_OK) {
    Error_Handler();
  }
  sMasterConfig.MasterOutputTrigger = TIM_TRGO_RESET;
  sMasterConfig.MasterSlaveMode = TIM_MASTERSLAVEMODE_DISABLE;
  if (HAL_TIMEx_MasterConfigSynchronization(&htim2, &sMasterConfig) != HAL_OK) {
    Error_Handler();
  }
  sConfigOC.OCMode = TIM_OCMODE_PWM1;
  sConfigOC.Pulse = 250;
  sConfigOC.OCPolarity = TIM_OCPOLARITY_HIGH;
  sConfigOC.OCFastMode = TIM_OCFAST_DISABLE;
  if (HAL_TIM_PWM_ConfigChannel(&htim2, &sConfigOC, TIM_CHANNEL_3) != HAL_OK) {
    Error_Handler();
  }
  HAL_TIM_MspPostInit(&htim2);
}

static void MX_USART1_UART_Init(void) {

  huart1.Instance = USART1;
  huart1.Init.BaudRate = 115200;
  huart1.Init.WordLength = UART_WORDLENGTH_8B;
  huart1.Init.StopBits = UART_STOPBITS_1;
  huart1.Init.Parity = UART_PARITY_NONE;
  huart1.Init.Mode = UART_MODE_TX_RX;
  huart1.Init.HwFlowCtl = UART_HWCONTROL_NONE;
  huart1.Init.OverSampling = UART_OVERSAMPLING_16;
  huart1.Init.OneBitSampling = UART_ONE_BIT_SAMPLE_DISABLE;
  huart1.AdvancedInit.AdvFeatureInit = UART_ADVFEATURE_NO_INIT;
  if (HAL_UART_Init(&huart1) != HAL_OK) {
    Error_Handler();
  }
}

static void MX_DMA_Init(void) {

  /* DMA controller clock enable */
  __HAL_RCC_DMA1_CLK_ENABLE();

  /* DMA interrupt init */
  /* DMA1_Channel2_3_IRQn interrupt configuration */
  HAL_NVIC_SetPriority(DMA1_Channel2_3_IRQn, 0, 0);
  HAL_NVIC_EnableIRQ(DMA1_Channel2_3_IRQn);
}

static void MX_GPIO_Init(void) {
  GPIO_InitTypeDef GPIO_InitStruct = {0};

  /* GPIO Ports Clock Enable */
  __HAL_RCC_GPIOC_CLK_ENABLE();
  __HAL_RCC_GPIOA_CLK_ENABLE();
  __HAL_RCC_GPIOB_CLK_ENABLE();

  /*Configure GPIO pins : CHG_MODE_Pin RST_COUNTER_Pin */
  GPIO_InitStruct.Pin = CHG_MODE_Pin | RST_COUNTER_Pin;
  GPIO_InitStruct.Mode = GPIO_MODE_IT_RISING;
  GPIO_InitStruct.Pull = GPIO_NOPULL;
  HAL_GPIO_Init(GPIOA, &GPIO_InitStruct);

  /*Configure GPIO pin : HIT_TRIG_Pin */
  GPIO_InitStruct.Pin = HIT_TRIG_Pin;
  GPIO_InitStruct.Mode = GPIO_MODE_IT_FALLING;
  GPIO_InitStruct.Pull = GPIO_NOPULL;
  HAL_GPIO_Init(HIT_TRIG_GPIO_Port, &GPIO_InitStruct);

  /* EXTI interrupt init*/
  HAL_NVIC_SetPriority(EXTI2_3_IRQn, 0, 0);
  HAL_NVIC_EnableIRQ(EXTI2_3_IRQn);

  HAL_NVIC_SetPriority(EXTI4_15_IRQn, 0, 0);
  HAL_NVIC_EnableIRQ(EXTI4_15_IRQn);

}

void Error_Handler(void) {
  __disable_irq();
  while (1) {
  }
}
#ifdef USE_FULL_ASSERT
/**
 * @brief  Reports the name of the source file and the source line number
 *         where the assert_param error has occurred.
 * @param  file: pointer to the source file name
 * @param  line: assert_param error line source number
 * @retval None
 */
void assert_failed(uint8_t *file, uint32_t line) {
  /* USER CODE BEGIN 6 */
  /* User can add his own implementation to report the file name and line
     number, ex: printf("Wrong parameters value: file %s on line %d\r\n", file,
     line) */
  /* USER CODE END 6 */
}
#endif /* USE_FULL_ASSERT */
